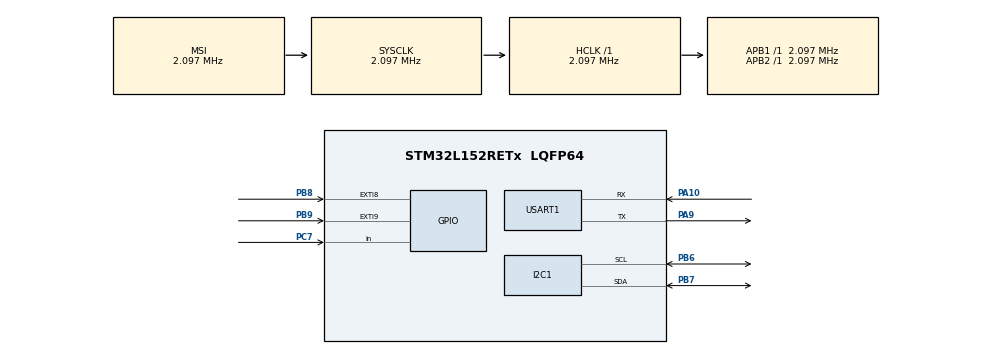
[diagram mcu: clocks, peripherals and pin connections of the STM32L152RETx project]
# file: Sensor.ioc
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I2C1.GeneralCallMode=I2C_GENERALCALL_ENABLE
Mcu.Family=STM32L1
Mcu.Name=STM32L152RETx
Mcu.Package=LQFP64
NVIC.EXTI9_5_IRQn=true\:0\:0\:false\:false\:true\:true\:true
NVIC.PriorityGroup=NVIC_PRIORITYGROUP_4
PA10.Mode=Asynchronous
PA10.Signal=USART1_RX
PA9.Mode=Asynchronous
PA9.Signal=USART1_TX
PB6.Mode=I2C
PB6.Signal=I2C1_SCL
PB7.Mode=I2C
PB7.Signal=I2C1_SDA
PB8.Signal=GPXTI8
PB9.Signal=GPXTI9
PC7.Signal=GPIO_Input
ProjectManager.HeapSize=0x200
ProjectManager.StackSize=0x400
ProjectManager.TargetToolchain=STM32CubeIDE
RCC.AHBFreq_Value=2097000
RCC.APB1Freq_Value=2097000
RCC.APB2Freq_Value=2097000
RCC.HSE_VALUE=24000000
RCC.HSI_VALUE=16000000
RCC.LSE_VALUE=32768
RCC.MSI_VALUE=2097000
RCC.SYSCLKFreq_VALUE=2097000
RCC.VCOOutputFreq_Value=48000000
USART1.VirtualMode=VM_ASYNC
board=custom

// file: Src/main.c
/* USER CODE BEGIN Header */
/**
  ******************************************************************************
  * @file           : main.c
  * @brief          : Main program body
  ******************************************************************************
  * @attention
  *
  * <h2><center>&copy; Copyright (c) 2019 STMicroelectronics.
  * All rights reserved.</center></h2>
  *
  * This software component is licensed by ST under BSD 3-Clause license,
  * the "License"; You may not use this file except in compliance with the
  * License. You may obtain a copy of the License at:
  *                        opensource.org/licenses/BSD-3-Clause
  *
  ******************************************************************************
  */
/* USER CODE END Header */

#include "main.h"

I2C_HandleTypeDef hi2c1;

UART_HandleTypeDef huart1;

void SystemClock_Config(void);
static void MX_GPIO_Init(void);
static void MX_I2C1_Init(void);
static void MX_USART1_UART_Init(void);

/* USER CODE BEGIN 0 */
float xg;
float yg;
float zg;

typedef enum Interrupt_name
{
	FIFO_INT,
	TRANS_INT,
	LDPT_INT,
	PULSE_INT,
	FF_MT_INT,
	DRDY_INT,
	ASLP_INT
} InterName;

/* USER CODE END 0 */

int main(void)
{
  /* USER CODE BEGIN 1 */
	InterName name =LDPT_INT ;

  /* USER CODE END 1 */

  /* MCU Configuration--------------------------------------------------------*/

  /* Reset of all peripherals, Initializes the Flash interface and the Systick. */
  HAL_Init();

  /* Configure the system clock */
  SystemClock_Config();

  /* Initialize all configured peripherals */
  MX_GPIO_Init();
  MX_I2C1_Init();
  MX_USART1_UART_Init();
  /* USER CODE BEGIN 2 */

  HAL_UART_Transmit(&huart1, (uint8_t*)"Start of testing\r\n",18,1000);
  //I2C_find_devices();

   MMA845x_begin(1, 2);
  // MMA845X_interrupt(name,1);
   MMA845x_getdata();
   MMA845X_sendData();

/* USER CODE END 2 */

  /* Infinite loop */
  /* USER CODE BEGIN WHILE */
  while (1)
  {
	  if(HAL_GPIO_ReadPin(GPIOC, GPIO_PIN_7)==GPIO_PIN_RESET)
	  {
		  HAL_UART_Transmit(&huart1, (uint8_t*)"That's deep\r\n",17,1000);

	  }
    /* USER CODE END WHILE */

  }
}

void SystemClock_Config(void)
{
  RCC_OscInitTypeDef RCC_OscInitStruct = {0};
  RCC_ClkInitTypeDef RCC_ClkInitStruct = {0};

  /** Configure the main internal regulator output voltage
  */
  __HAL_PWR_VOLTAGESCALING_CONFIG(PWR_REGULATOR_VOLTAGE_SCALE1);
  /** Initializes the CPU, AHB and APB busses clocks
  */
  RCC_OscInitStruct.OscillatorType = RCC_OSCILLATORTYPE_MSI;
  RCC_OscInitStruct.MSIState = RCC_MSI_ON;
  RCC_OscInitStruct.MSICalibrationValue = 0;
  RCC_OscInitStruct.MSIClockRange = RCC_MSIRANGE_5;
  RCC_OscInitStruct.PLL.PLLState = RCC_PLL_NONE;
  if (HAL_RCC_OscConfig(&RCC_OscInitStruct) != HAL_OK)
  {
    Error_Handler();
  }
  /** Initializes the CPU, AHB and APB busses clocks
  */
  RCC_ClkInitStruct.ClockType = RCC_CLOCKTYPE_HCLK|RCC_CLOCKTYPE_SYSCLK
                              |RCC_CLOCKTYPE_PCLK1|RCC_CLOCKTYPE_PCLK2;
  RCC_ClkInitStruct.SYSCLKSource = RCC_SYSCLKSOURCE_MSI;
  RCC_ClkInitStruct.AHBCLKDivider = RCC_SYSCLK_DIV1;
  RCC_ClkInitStruct.APB1CLKDivider = RCC_HCLK_DIV1;
  RCC_ClkInitStruct.APB2CLKDivider = RCC_HCLK_DIV1;

  if (HAL_RCC_ClockConfig(&RCC_ClkInitStruct, FLASH_LATENCY_0) != HAL_OK)
  {
    Error_Handler();
  }
}

static void MX_I2C1_Init(void)
{

  hi2c1.Instance = I2C1;
  hi2c1.Init.ClockSpeed = 100000;
  hi2c1.Init.DutyCycle = I2C_DUTYCYCLE_2;
  hi2c1.Init.OwnAddress1 = 0;
  hi2c1.Init.AddressingMode = I2C_ADDRESSINGMODE_7BIT;
  hi2c1.Init.DualAddressMode = I2C_DUALADDRESS_DISABLE;
  hi2c1.Init.OwnAddress2 = 0;
  hi2c1.Init.GeneralCallMode = I2C_GENERALCALL_ENABLE;
  hi2c1.Init.NoStretchMode = I2C_NOSTRETCH_DISABLE;
  if (HAL_I2C_Init(&hi2c1) != HAL_OK)
  {
    Error_Handler();
  }

}

static void MX_USART1_UART_Init(void)
{

  huart1.Instance = USART1;
  huart1.Init.BaudRate = 115200;
  huart1.Init.WordLength = UART_WORDLENGTH_8B;
  huart1.Init.StopBits = UART_STOPBITS_1;
  huart1.Init.Parity = UART_PARITY_NONE;
  huart1.Init.Mode = UART_MODE_TX_RX;
  huart1.Init.HwFlowCtl = UART_HWCONTROL_NONE;
  huart1.Init.OverSampling = UART_OVERSAMPLING_16;
  if (HAL_UART_Init(&huart1) != HAL_OK)
  {
    Error_Handler();
  }

}

static void MX_GPIO_Init(void)
{
  GPIO_InitTypeDef GPIO_InitStruct = {0};

  /* GPIO Ports Clock Enable */
  __HAL_RCC_GPIOC_CLK_ENABLE();
  __HAL_RCC_GPIOA_CLK_ENABLE();
  __HAL_RCC_GPIOB_CLK_ENABLE();

  /*Configure GPIO pin : PC7 */
  GPIO_InitStruct.Pin = GPIO_PIN_7;
  GPIO_InitStruct.Mode = GPIO_MODE_INPUT;
  GPIO_InitStruct.Pull = GPIO_NOPULL;
  HAL_GPIO_Init(GPIOC, &GPIO_InitStruct);

  /*Configure GPIO pins : PB8 PB9 */
  GPIO_InitStruct.Pin = GPIO_PIN_8|GPIO_PIN_9;
  GPIO_InitStruct.Mode = GPIO_MODE_IT_RISING;
  GPIO_InitStruct.Pull = GPIO_NOPULL;
  HAL_GPIO_Init(GPIOB, &GPIO_InitStruct);

  /* EXTI interrupt init*/
  HAL_NVIC_SetPriority(EXTI9_5_IRQn, 0, 0);
  HAL_NVIC_EnableIRQ(EXTI9_5_IRQn);

}

void Error_Handler(void)
{
}

/************************ (C) COPYRIGHT STMicroelectronics *****END OF FILE****/
